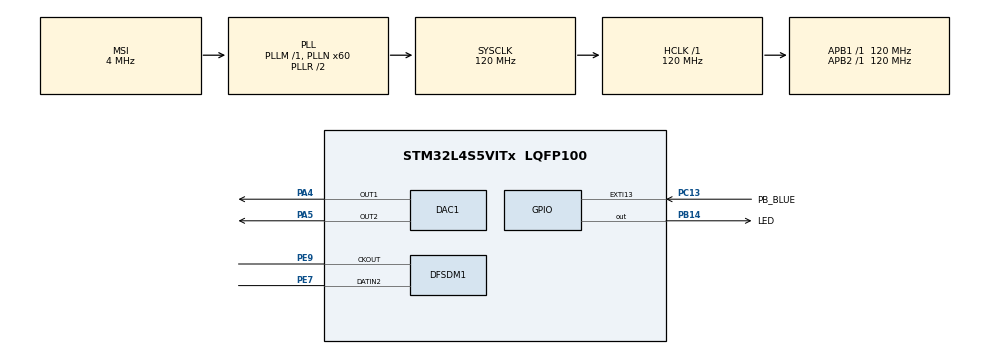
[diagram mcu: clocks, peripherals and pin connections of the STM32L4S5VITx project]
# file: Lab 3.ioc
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DAC1.DAC_Channel-DAC_OUT2=DAC_CHANNEL_2
DAC1.DAC_Trigger-DAC_OUT1=DAC_TRIGGER_T2_TRGO
DFSDM1.Divider=50
DFSDM1.DmaMode_reg_FIL0=ENABLE
DFSDM1.FastMode_reg_FIL0=ENABLE
DFSDM1.Filter_regChannel_FIL0=DFSDM_CHANNEL_2
DFSDM1.Fosr_FIL0=100
Dma.DAC1_CH1.0.Direction=DMA_MEMORY_TO_PERIPH
Dma.DAC1_CH1.0.EventEnable=DISABLE
Dma.DAC1_CH1.0.Instance=DMA1_Channel1
Dma.DAC1_CH1.0.MemDataAlignment=DMA_MDATAALIGN_WORD
Dma.DAC1_CH1.0.MemInc=DMA_MINC_ENABLE
Dma.DAC1_CH1.0.Mode=DMA_NORMAL
Dma.DAC1_CH1.0.PeriphDataAlignment=DMA_PDATAALIGN_BYTE
Dma.DAC1_CH1.0.PeriphInc=DMA_PINC_DISABLE
Dma.DAC1_CH1.0.Polarity=HAL_DMAMUX_REQUEST_GEN_RISING
Dma.DAC1_CH1.0.Priority=DMA_PRIORITY_LOW
Dma.DAC1_CH1.0.RequestNumber=1
Dma.DAC1_CH1.0.SignalID=NONE
Dma.DAC1_CH1.0.SyncEnable=DISABLE
Dma.DAC1_CH1.0.SyncPolarity=HAL_DMAMUX_SYNC_NO_EVENT
Dma.DAC1_CH1.0.SyncRequestNumber=1
Dma.DAC1_CH1.0.SyncSignalID=NONE
Dma.DFSDM1_FLT0.1.Direction=DMA_PERIPH_TO_MEMORY
Dma.DFSDM1_FLT0.1.EventEnable=DISABLE
Dma.DFSDM1_FLT0.1.Instance=DMA1_Channel2
Dma.DFSDM1_FLT0.1.MemDataAlignment=DMA_MDATAALIGN_WORD
Dma.DFSDM1_FLT0.1.MemInc=DMA_MINC_ENABLE
Dma.DFSDM1_FLT0.1.Mode=DMA_NORMAL
Dma.DFSDM1_FLT0.1.PeriphDataAlignment=DMA_PDATAALIGN_WORD
Dma.DFSDM1_FLT0.1.PeriphInc=DMA_PINC_DISABLE
Dma.DFSDM1_FLT0.1.Polarity=HAL_DMAMUX_REQUEST_GEN_RISING
Dma.DFSDM1_FLT0.1.Priority=DMA_PRIORITY_LOW
Dma.DFSDM1_FLT0.1.RequestNumber=1
Dma.DFSDM1_FLT0.1.SignalID=NONE
Dma.DFSDM1_FLT0.1.SyncEnable=DISABLE
Dma.DFSDM1_FLT0.1.SyncPolarity=HAL_DMAMUX_SYNC_NO_EVENT
Dma.DFSDM1_FLT0.1.SyncRequestNumber=1
Dma.DFSDM1_FLT0.1.SyncSignalID=NONE
Dma.Request0=DAC1_CH1
Dma.Request1=DFSDM1_FLT0
Mcu.Family=STM32L4
Mcu.Name=STM32L4S5VITx
Mcu.Package=LQFP100
NVIC.DMA1_Channel1_IRQn=true\:0\:0\:false\:false\:true\:false\:true\:true
NVIC.DMA1_Channel2_IRQn=true\:0\:0\:false\:false\:true\:false\:true\:true
NVIC.EXTI15_10_IRQn=true\:0\:0\:false\:false\:true\:true\:true\:true
NVIC.PriorityGroup=NVIC_PRIORITYGROUP_4
NVIC.TIM2_IRQn=true\:0\:0\:false\:false\:true\:true\:true\:true
PA4.Signal=COMP_DAC11_group
PA5.Signal=COMP_DAC12_group
PB14.GPIO_Label=LED
PB14.Signal=GPIO_Output
PC13.GPIO_Label=PB_BLUE
PC13.Signal=GPXTI13
PE7.Signal=S_DATAIN2DFSDM1
PE9.Signal=S_CKOUTDFSDM1
ProjectManager.HeapSize=0x200
ProjectManager.StackSize=0x400
ProjectManager.TargetToolchain=STM32CubeIDE
RCC.AHBFreq_Value=120000000
RCC.APB1Freq_Value=120000000
RCC.APB1TimFreq_Value=120000000
RCC.APB2Freq_Value=120000000
RCC.APB2TimFreq_Value=120000000
RCC.CortexFreq_Value=120000000
RCC.HCLKFreq_Value=120000000
RCC.HSE_VALUE=8000000
RCC.HSI48_VALUE=48000000
RCC.HSI_VALUE=16000000
RCC.LSE_VALUE=32768
RCC.MSI_VALUE=4000000
RCC.PLLN=60
RCC.SYSCLKFreq_VALUE=120000000
RCC.SYSCLKSource=RCC_SYSCLKSOURCE_PLLCLK
RCC.VCOOutputFreq_Value=240000000
SH.COMP_DAC11_group.0=DAC1_OUT1,DAC_OUT1
SH.COMP_DAC12_group.0=DAC1_OUT2,DAC_OUT2
SH.S_CKOUTDFSDM1.0=DFSDM1_CKOUT,PDM_SPI_input_from_ch2_and_internal_clock
SH.S_CKOUTDFSDM1.1=DFSDM1_CKOUT,CKOUT
SH.S_DATAIN2DFSDM1.0=DFSDM1_DATIN2,PDM_SPI_input_from_ch2_and_internal_clock
TIM2.Period=5000
TIM2.TIM_MasterOutputTrigger=TIM_TRGO_UPDATE
VP_TIM2_VS_ClockSourceINT.Mode=Internal
board=custom

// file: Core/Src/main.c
/* USER CODE BEGIN Header */
/**
  ******************************************************************************
  * @file           : main.c
  * @brief          : Main program body
  ******************************************************************************
  * @attention
  *
  * Copyright (c) 2023 STMicroelectronics.
  * All rights reserved.
  *
  * This software is licensed under terms that can be found in the LICENSE file
  * in the root directory of this software component.
  * If no LICENSE file comes with this software, it is provided AS-IS.
  *
  ******************************************************************************
  */
/* USER CODE END Header */
#include "main.h"

/* USER CODE BEGIN Includes */
#define ARM_MATH_CM4
#include "arm_math.h"
/* USER CODE END Includes */

/* USER CODE BEGIN PD */
#define pi 3.14
#define true 1
#define false 0
/* USER CODE END PD */

DAC_HandleTypeDef hdac1;
DMA_HandleTypeDef hdma_dac1_ch1;

DFSDM_Filter_HandleTypeDef hdfsdm1_filter0;
DFSDM_Channel_HandleTypeDef hdfsdm1_channel2;
DMA_HandleTypeDef hdma_dfsdm1_flt0;

TIM_HandleTypeDef htim2;

void SystemClock_Config(void);
static void MX_GPIO_Init(void);
static void MX_DMA_Init(void);
static void MX_DAC1_Init(void);
static void MX_TIM2_Init(void);
static void MX_DFSDM1_Init(void);
/* USER CODE BEGIN PFP */
void populateSineWave8Bit(uint8_t *array);
void changeWaveFrequency(int frequency);
void transformBufferToDAC(int32_t *buffer, uint32_t recording_buffer_length, uint32_t total_buffer_length);
/* USER CODE END PFP */

/* USER CODE BEGIN 0 */
// init variables
uint8_t waveCounter = 0;
uint8_t sine[15];
const int sampleFrequency = 44100; // 44.1 KHz
const int samplePeriod = 120000000/sampleFrequency; // Clock freq / sampleFrequency
int waveFreqCountPeriod = 1;
int waveFreqCounter = 0;
// buffer for sound samples
const uint32_t RECORDING_BUFLEN = 65500; // buffer length purely for recording
const uint32_t VOICE_BUFLEN = 40000; // buffer length recording+chime
int32_t recordingBuffer[65500]; // sampling rate @ 20 kHz => 2 second of recording and 1 second of space for chime
// boolean flags
uint8_t DFSDM_finished = false;
uint8_t lightState = 0; //0 is off, 1 is on
uint8_t lightBlink = 0; //0 is normal, 1 is blinking
uint16_t blinkFreqReducerCount=0;
uint16_t blinkFreqReducerPeriod=8000;

/* USER CODE END 0 */

int main(void)
{

  /* MCU Configuration--------------------------------------------------------*/

  /* Reset of all peripherals, Initializes the Flash interface and the Systick. */
  HAL_Init();

  /* Configure the system clock */
  SystemClock_Config();

  /* Initialize all configured peripherals */
  MX_GPIO_Init();
  MX_DMA_Init();
  MX_DAC1_Init();
  MX_TIM2_Init();
  MX_DFSDM1_Init();
  /* USER CODE BEGIN 2 */
  // initiating things
  HAL_DAC_Start(&hdac1, DAC_CHANNEL_1);
  // start the timer (TIM2) and associated interrupt
  HAL_TIM_Base_Start_IT(&htim2); // the _IT at the end of fn. means interrupt
  populateSineWave8Bit(sine);
  /* ------------- PART 3 OF LAB COMMENT OUT BELOW -------------------
  HAL_TIM_Base_Start_IT(&htim2);
  HAL_DFSDM_FilterRegularStart_DMA(&hdfsdm1_filter0, recordingBuffer, RECORDING_BUFLEN);
  while (!DFSDM_finished) {
	  HAL_GPIO_WritePin(LED_GPIO_Port, LED_Pin, GPIO_PIN_SET);
  }
  transformBufferToDAC(recordingBuffer, RECORDING_BUFLEN);
  HAL_DAC_Start_DMA(&hdac1, DAC_CHANNEL_1, recordingBuffer, RECORDING_BUFLEN, DAC_ALIGN_8B_R);
  */
  /* ------------- PART 2 OF LAB COMMENTED OUT BELOW ------------------
  // initiating things
  HAL_DAC_Start_DMA(&hdac1, DAC_CHANNEL_1, sine, 15, DAC_ALIGN_8B_R);
  // start the timer (TIM2) and associated interrupt
  HAL_TIM_Base_Start_IT(&htim2); // the _IT at the end of fn. means interrupt
  populateSineWave8Bit(sine);
  changeWaveFrequency(2000); // 2kHz
*/

  /* USER CODE END 2 */

  /* Infinite loop */
  /* USER CODE BEGIN WHILE */
  while (true)
  {

      if (lightState==1 && lightBlink==0){
          DFSDM_finished = false;
          lightBlink = 1;
          HAL_DFSDM_FilterRegularStart_DMA(&hdfsdm1_filter0, recordingBuffer, VOICE_BUFLEN);
          while (!DFSDM_finished) {
          }
          HAL_DFSDM_FilterRegularStop_DMA(&hdfsdm1_filter0);
          lightBlink = 0;

        	  // make LED solid
          HAL_GPIO_WritePin(LED_GPIO_Port, LED_Pin, GPIO_PIN_SET);
          lightState = 1;

          transformBufferToDAC(recordingBuffer, VOICE_BUFLEN, RECORDING_BUFLEN);
          HAL_DAC_Start_DMA(&hdac1, DAC_CHANNEL_1, recordingBuffer, RECORDING_BUFLEN, DAC_ALIGN_8B_R);
          while(lightState==1){

          }
          // stop playback on button press
          HAL_DAC_Stop_DMA(&hdac1, DAC_CHANNEL_1);
          HAL_GPIO_TogglePin(LED_GPIO_Port, LED_Pin);
          lightState = 1;
      }
	  // debug
	  /*
		int32_t cur;
		int32_t min = INT32_MAX;
		int32_t max = INT32_MIN;
		int32_t avg = 0;
		for (int i = 0; i < RECORDING_BUFLEN; i++) {
			cur = recordingBuffer[i];
			if (cur <= min) {
				min = cur;
			}

			if (cur >= max) {
				max = cur;
			}
		}
		*/
    /* USER CODE END WHILE */

  }
}

void SystemClock_Config(void)
{
  RCC_OscInitTypeDef RCC_OscInitStruct = {0};
  RCC_ClkInitTypeDef RCC_ClkInitStruct = {0};

  /** Configure the main internal regulator output voltage
  */
  if (HAL_PWREx_ControlVoltageScaling(PWR_REGULATOR_VOLTAGE_SCALE1_BOOST) != HAL_OK)
  {
    Error_Handler();
  }

  /** Initializes the RCC Oscillators according to the specified parameters
  * in the RCC_OscInitTypeDef structure.
  */
  RCC_OscInitStruct.OscillatorType = RCC_OSCILLATORTYPE_MSI;
  RCC_OscInitStruct.MSIState = RCC_MSI_ON;
  RCC_OscInitStruct.MSICalibrationValue = 0;
  RCC_OscInitStruct.MSIClockRange = RCC_MSIRANGE_6;
  RCC_OscInitStruct.PLL.PLLState = RCC_PLL_ON;
  RCC_OscInitStruct.PLL.PLLSource = RCC_PLLSOURCE_MSI;
  RCC_OscInitStruct.PLL.PLLM = 1;
  RCC_OscInitStruct.PLL.PLLN = 60;
  RCC_OscInitStruct.PLL.PLLP = RCC_PLLP_DIV2;
  RCC_OscInitStruct.PLL.PLLQ = RCC_PLLQ_DIV2;
  RCC_OscInitStruct.PLL.PLLR = RCC_PLLR_DIV2;
  if (HAL_RCC_OscConfig(&RCC_OscInitStruct) != HAL_OK)
  {
    Error_Handler();
  }

  /** Initializes the CPU, AHB and APB buses clocks
  */
  RCC_ClkInitStruct.ClockType = RCC_CLOCKTYPE_HCLK|RCC_CLOCKTYPE_SYSCLK
                              |RCC_CLOCKTYPE_PCLK1|RCC_CLOCKTYPE_PCLK2;
  RCC_ClkInitStruct.SYSCLKSource = RCC_SYSCLKSOURCE_PLLCLK;
  RCC_ClkInitStruct.AHBCLKDivider = RCC_SYSCLK_DIV1;
  RCC_ClkInitStruct.APB1CLKDivider = RCC_HCLK_DIV1;
  RCC_ClkInitStruct.APB2CLKDivider = RCC_HCLK_DIV1;

  if (HAL_RCC_ClockConfig(&RCC_ClkInitStruct, FLASH_LATENCY_5) != HAL_OK)
  {
    Error_Handler();
  }
}

static void MX_DAC1_Init(void)
{

  DAC_ChannelConfTypeDef sConfig = {0};

  /** DAC Initialization
  */
  hdac1.Instance = DAC1;
  if (HAL_DAC_Init(&hdac1) != HAL_OK)
  {
    Error_Handler();
  }

  /** DAC channel OUT1 config
  */
  sConfig.DAC_SampleAndHold = DAC_SAMPLEANDHOLD_DISABLE;
  sConfig.DAC_Trigger = DAC_TRIGGER_T2_TRGO;
  sConfig.DAC_HighFrequency = DAC_HIGH_FREQUENCY_INTERFACE_MODE_ABOVE_80MHZ;
  sConfig.DAC_OutputBuffer = DAC_OUTPUTBUFFER_ENABLE;
  sConfig.DAC_ConnectOnChipPeripheral = DAC_CHIPCONNECT_DISABLE;
  sConfig.DAC_UserTrimming = DAC_TRIMMING_FACTORY;
  if (HAL_DAC_ConfigChannel(&hdac1, &sConfig, DAC_CHANNEL_1) != HAL_OK)
  {
    Error_Handler();
  }

  /** DAC channel OUT2 config
  */
  sConfig.DAC_Trigger = DAC_TRIGGER_NONE;
  if (HAL_DAC_ConfigChannel(&hdac1, &sConfig, DAC_CHANNEL_2) != HAL_OK)
  {
    Error_Handler();
  }

}

static void MX_DFSDM1_Init(void)
{

  hdfsdm1_filter0.Instance = DFSDM1_Filter0;
  hdfsdm1_filter0.Init.RegularParam.Trigger = DFSDM_FILTER_SW_TRIGGER;
  hdfsdm1_filter0.Init.RegularParam.FastMode = ENABLE;
  hdfsdm1_filter0.Init.RegularParam.DmaMode = ENABLE;
  hdfsdm1_filter0.Init.FilterParam.SincOrder = DFSDM_FILTER_FASTSINC_ORDER;
  hdfsdm1_filter0.Init.FilterParam.Oversampling = 100;
  hdfsdm1_filter0.Init.FilterParam.IntOversampling = 1;
  if (HAL_DFSDM_FilterInit(&hdfsdm1_filter0) != HAL_OK)
  {
    Error_Handler();
  }
  hdfsdm1_channel2.Instance = DFSDM1_Channel2;
  hdfsdm1_channel2.Init.OutputClock.Activation = ENABLE;
  hdfsdm1_channel2.Init.OutputClock.Selection = DFSDM_CHANNEL_OUTPUT_CLOCK_SYSTEM;
  hdfsdm1_channel2.Init.OutputClock.Divider = 50;
  hdfsdm1_channel2.Init.Input.Multiplexer = DFSDM_CHANNEL_EXTERNAL_INPUTS;
  hdfsdm1_channel2.Init.Input.DataPacking = DFSDM_CHANNEL_STANDARD_MODE;
  hdfsdm1_channel2.Init.Input.Pins = DFSDM_CHANNEL_SAME_CHANNEL_PINS;
  hdfsdm1_channel2.Init.SerialInterface.Type = DFSDM_CHANNEL_SPI_RISING;
  hdfsdm1_channel2.Init.SerialInterface.SpiClock = DFSDM_CHANNEL_SPI_CLOCK_INTERNAL;
  hdfsdm1_channel2.Init.Awd.FilterOrder = DFSDM_CHANNEL_FASTSINC_ORDER;
  hdfsdm1_channel2.Init.Awd.Oversampling = 1;
  hdfsdm1_channel2.Init.Offset = 0;
  hdfsdm1_channel2.Init.RightBitShift = 0x00;
  if (HAL_DFSDM_ChannelInit(&hdfsdm1_channel2) != HAL_OK)
  {
    Error_Handler();
  }
  if (HAL_DFSDM_FilterConfigRegChannel(&hdfsdm1_filter0, DFSDM_CHANNEL_2, DFSDM_CONTINUOUS_CONV_ON) != HAL_OK)
  {
    Error_Handler();
  }

}

static void MX_TIM2_Init(void)
{

  TIM_ClockConfigTypeDef sClockSourceConfig = {0};
  TIM_MasterConfigTypeDef sMasterConfig = {0};

  /* USER CODE BEGIN TIM2_Init 1 */
  // THE PERIOD OF TIM2 HAS BEEN DETERMINED BY f_SAMPLE = 44.1 KHz AND f_CLK = 120 MHz
  /* USER CODE END TIM2_Init 1 */
  htim2.Instance = TIM2;
  htim2.Init.Prescaler = 0;
  htim2.Init.CounterMode = TIM_COUNTERMODE_UP;
  htim2.Init.Period = 5000;
  htim2.Init.ClockDivision = TIM_CLOCKDIVISION_DIV1;
  htim2.Init.AutoReloadPreload = TIM_AUTORELOAD_PRELOAD_DISABLE;
  if (HAL_TIM_Base_Init(&htim2) != HAL_OK)
  {
    Error_Handler();
  }
  sClockSourceConfig.ClockSource = TIM_CLOCKSOURCE_INTERNAL;
  if (HAL_TIM_ConfigClockSource(&htim2, &sClockSourceConfig) != HAL_OK)
  {
    Error_Handler();
  }
  sMasterConfig.MasterOutputTrigger = TIM_TRGO_UPDATE;
  sMasterConfig.MasterSlaveMode = TIM_MASTERSLAVEMODE_DISABLE;
  if (HAL_TIMEx_MasterConfigSynchronization(&htim2, &sMasterConfig) != HAL_OK)
  {
    Error_Handler();
  }

}

static void MX_DMA_Init(void)
{

  /* DMA controller clock enable */
  __HAL_RCC_DMAMUX1_CLK_ENABLE();
  __HAL_RCC_DMA1_CLK_ENABLE();

  /* DMA interrupt init */
  /* DMA1_Channel1_IRQn interrupt configuration */
  HAL_NVIC_SetPriority(DMA1_Channel1_IRQn, 0, 0);
  HAL_NVIC_EnableIRQ(DMA1_Channel1_IRQn);
  /* DMA1_Channel2_IRQn interrupt configuration */
  HAL_NVIC_SetPriority(DMA1_Channel2_IRQn, 0, 0);
  HAL_NVIC_EnableIRQ(DMA1_Channel2_IRQn);

}

static void MX_GPIO_Init(void)
{
  GPIO_InitTypeDef GPIO_InitStruct = {0};

  /* GPIO Ports Clock Enable */
  __HAL_RCC_GPIOC_CLK_ENABLE();
  __HAL_RCC_GPIOA_CLK_ENABLE();
  __HAL_RCC_GPIOE_CLK_ENABLE();
  __HAL_RCC_GPIOB_CLK_ENABLE();

  /*Configure GPIO pin Output Level */
  HAL_GPIO_WritePin(LED_GPIO_Port, LED_Pin, GPIO_PIN_RESET);

  /*Configure GPIO pin : PB_BLUE_Pin */
  GPIO_InitStruct.Pin = PB_BLUE_Pin;
  GPIO_InitStruct.Mode = GPIO_MODE_IT_RISING;
  GPIO_InitStruct.Pull = GPIO_NOPULL;
  HAL_GPIO_Init(PB_BLUE_GPIO_Port, &GPIO_InitStruct);

  /*Configure GPIO pin : LED_Pin */
  GPIO_InitStruct.Pin = LED_Pin;
  GPIO_InitStruct.Mode = GPIO_MODE_OUTPUT_PP;
  GPIO_InitStruct.Pull = GPIO_NOPULL;
  GPIO_InitStruct.Speed = GPIO_SPEED_FREQ_LOW;
  HAL_GPIO_Init(LED_GPIO_Port, &GPIO_InitStruct);

  /* EXTI interrupt init*/
  HAL_NVIC_SetPriority(EXTI15_10_IRQn, 0, 0);
  HAL_NVIC_EnableIRQ(EXTI15_10_IRQn);

}

/* USER CODE BEGIN 4 */
/* INTERRUPT FUNCTIONS*/
/* PART 1-2
void HAL_GPIO_EXTI_Callback(uint16_t GPIO_Pin) {
	if (GPIO_Pin == PB_BLUE_Pin) {
		HAL_GPIO_TogglePin(LED_GPIO_Port, LED_Pin);
	}
}
*/
/* PART 1-2
void HAL_TIM_PeriodElapsedCallback (TIM_HandleTypeDef *htim) {
	if (htim == &htim2 && waveFreqCounter == waveFreqCountPeriod) {
		HAL_DAC_SetValue(&hdac1, DAC_CHANNEL_1, DAC_ALIGN_8B_R, sine[waveCounter]);
		waveCounter = (waveCounter+1)%15;
		// reset
		waveFreqCounter = 0;
	}
	waveFreqCounter++;
}
*/

/**
 * Part 3
 */
void HAL_GPIO_EXTI_Callback(uint16_t GPIO_Pin) {
    if (GPIO_Pin == PB_BLUE_Pin) {
        HAL_GPIO_TogglePin(LED_GPIO_Port, LED_Pin);
        if (lightState==0){
            lightState=1;
        }else{
            lightState=0;
        }
        blinkFreqReducerCount=0;
    }
}

void HAL_TIM_PeriodElapsedCallback (TIM_HandleTypeDef *htim) {
	//Part 3
	if(lightBlink==1 && blinkFreqReducerCount==blinkFreqReducerPeriod){
		HAL_GPIO_TogglePin(LED_GPIO_Port, LED_Pin);
        if (lightState==0){
            lightState=1;
        }else{
            lightState=0;
        }
        blinkFreqReducerCount=0;
	}

	blinkFreqReducerCount++;

}

void HAL_DFSDM_FilterRegConvCpltCallback(DFSDM_Filter_HandleTypeDef *hdfsdm_filter) {
	//HAL_GPIO_WritePin(LED_GPIO_Port, LED_Pin, GPIO_PIN_RESET);
	DFSDM_finished = true;
}

void HAL_DAC_ConvCpltCallbackCh1 (DAC_HandleTypeDef * hdac) {
	int a = 1;
}

/* OTHER STUFF/ HELPER FUNCTIONS*/
/*
 * Populates an array with values of a sine wave for the DAC (8 bit right alligned)
 */
void populateSineWave8Bit(uint8_t *array) {
	const uint8_t ARRAY_LEN = 16;
	int val = 0;
	for (int i = 0; i < ARRAY_LEN; i++) {
		val = 90*arm_sin_f32((pi*i) / 8) + 90;
		array[i] = val;
		// debug
		// int debug = array[i];
	}
}

void changeWaveFrequency(int frequency) {
	waveFreqCounter = 0;
	waveFreqCountPeriod = sampleFrequency/frequency;
}

/**
 * Transforms a buffer's values into valid DAC 8bit right aligned values
 */
void transformBufferToDAC(int32_t *buffer, uint32_t recording_buffer_length, uint32_t total_buffer_length) {
	for (int i = 0; i < recording_buffer_length; i++) {
		int32_t val = buffer[i]; // 24-bit value
		val = val >> 8; // remove this for LOUDER but MORE SCUFFED NOISE
		// need to map buffer values to 8bit right alligned values (uint8_t)
		// from experimentation (screaming at the board): min values tend to be -3000 and max seems to be ~1000
		const int16_t MAX_VAL = 2000;
		const int16_t MIN_VAL = -1500;
		const float a = (255.0)/(MAX_VAL - MIN_VAL); // slope

		// clip buffer values to within [-MIN_VAL, MAX_VAL]
		if (val <= MIN_VAL) {
			val = MIN_VAL;
		}
		if (val >= MAX_VAL) {
			val = MAX_VAL;
		}
		// scale values up by [-MIN_VAL] to make sure no negatives
		if (MIN_VAL < 0) {
			val += (-MIN_VAL);
		}
		// now the range of val should be [0, MAX_VAL-MIN_VAL], apply linear function to get DAC val
		val = round(a*val);
		if (val >= 0 && val <= 255) {
			buffer[i] = val; // change the buffer
		} else {
			Error_Handler(); // should not happen
		}
	}
	// adding the chime at the end of the buffer

    //int32_t step = (total_buffer_length-recording_buffer_length)/16;
    int8_t sineIndex = 0;
    /*
    for (int i=0; i<15;i++){
        for (int j=recording_buffer_length+(step*i); j<recording_buffer_length+(step*(i+1));j++){
            int32_t val = sine[sineIndex];
            if (val >= 0 && val <= 255) {
                buffer[j] = val; // change the buffer
            } else {
                Error_Handler(); // should not happen
            }
            sineIndex = (sineIndex+1)%16;
        }
   }
   */
    /*
    for (int i=0; i<13;i++){
        for (int j=recording_buffer_length+(step*i); j<recording_buffer_length+(step*(i+1));j++){
            int32_t val = sine[sineIndex];
            if (val >= 0 && val <= 255) {
                if (i%2==1 && j%4>0){
                    val=0;
                } else{
                    val = sine[j%13];
                }
                buffer[j] = val; // change the buffer
            } else {
                Error_Handler(); // should not happen
            }
        }
    }
    */

    int32_t step = (total_buffer_length-recording_buffer_length)/14;
    for (int i=0; i<13;i++){
        for (int j=recording_buffer_length+(step*i); j<recording_buffer_length+(step*(i+1));j++){
            int32_t val = sine[sineIndex];
            if (i%2==1 && j%15>4 && j%15<13){
                val=0;
            } else{
                val = sine[j%15];
            }
            if (val >= 0 && val <= 255) {
                buffer[j] = val; // change the buffer
            } else {
                Error_Handler(); // should not happen
            }
        }
    }
}

/* USER CODE END 4 */

void Error_Handler(void)
{
  __disable_irq();
  while (1)
  {
  }
}
